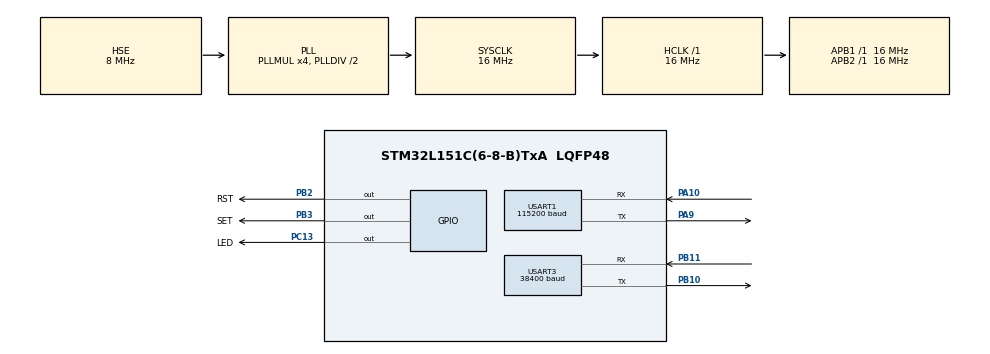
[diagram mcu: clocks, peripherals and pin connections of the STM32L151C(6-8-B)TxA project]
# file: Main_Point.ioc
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Dma.Request0=USART1_RX
Dma.Request1=USART1_TX
Dma.Request2=USART3_RX
Dma.Request3=USART3_TX
Dma.USART1_RX.0.Direction=DMA_PERIPH_TO_MEMORY
Dma.USART1_RX.0.Instance=DMA1_Channel5
Dma.USART1_RX.0.MemDataAlignment=DMA_MDATAALIGN_BYTE
Dma.USART1_RX.0.MemInc=DMA_MINC_ENABLE
Dma.USART1_RX.0.Mode=DMA_NORMAL
Dma.USART1_RX.0.PeriphDataAlignment=DMA_PDATAALIGN_BYTE
Dma.USART1_RX.0.PeriphInc=DMA_PINC_DISABLE
Dma.USART1_RX.0.Priority=DMA_PRIORITY_MEDIUM
Dma.USART1_TX.1.Direction=DMA_MEMORY_TO_PERIPH
Dma.USART1_TX.1.Instance=DMA1_Channel4
Dma.USART1_TX.1.MemDataAlignment=DMA_MDATAALIGN_BYTE
Dma.USART1_TX.1.MemInc=DMA_MINC_ENABLE
Dma.USART1_TX.1.Mode=DMA_NORMAL
Dma.USART1_TX.1.PeriphDataAlignment=DMA_PDATAALIGN_BYTE
Dma.USART1_TX.1.PeriphInc=DMA_PINC_DISABLE
Dma.USART1_TX.1.Priority=DMA_PRIORITY_MEDIUM
Dma.USART3_RX.2.Direction=DMA_PERIPH_TO_MEMORY
Dma.USART3_RX.2.Instance=DMA1_Channel3
Dma.USART3_RX.2.MemDataAlignment=DMA_MDATAALIGN_BYTE
Dma.USART3_RX.2.MemInc=DMA_MINC_ENABLE
Dma.USART3_RX.2.Mode=DMA_NORMAL
Dma.USART3_RX.2.PeriphDataAlignment=DMA_PDATAALIGN_BYTE
Dma.USART3_RX.2.PeriphInc=DMA_PINC_DISABLE
Dma.USART3_RX.2.Priority=DMA_PRIORITY_HIGH
Dma.USART3_TX.3.Direction=DMA_MEMORY_TO_PERIPH
Dma.USART3_TX.3.Instance=DMA1_Channel2
Dma.USART3_TX.3.MemDataAlignment=DMA_MDATAALIGN_BYTE
Dma.USART3_TX.3.MemInc=DMA_MINC_ENABLE
Dma.USART3_TX.3.Mode=DMA_NORMAL
Dma.USART3_TX.3.PeriphDataAlignment=DMA_PDATAALIGN_BYTE
Dma.USART3_TX.3.PeriphInc=DMA_PINC_DISABLE
Dma.USART3_TX.3.Priority=DMA_PRIORITY_HIGH
Mcu.Family=STM32L1
Mcu.Name=STM32L151C(6-8-B)TxA
Mcu.Package=LQFP48
NVIC.DMA1_Channel2_IRQn=true\:2\:0\:true\:false\:true\:false\:true\:true
NVIC.DMA1_Channel3_IRQn=true\:2\:0\:true\:false\:true\:false\:true\:true
NVIC.DMA1_Channel4_IRQn=true\:1\:0\:true\:false\:true\:false\:true\:true
NVIC.DMA1_Channel5_IRQn=true\:1\:0\:true\:false\:true\:false\:true\:true
NVIC.PriorityGroup=NVIC_PRIORITYGROUP_4
NVIC.USART1_IRQn=true\:1\:0\:true\:false\:true\:true\:true\:true
NVIC.USART3_IRQn=true\:2\:0\:true\:false\:true\:true\:true\:true
PA10.Mode=Asynchronous
PA10.Signal=USART1_RX
PA13.Mode=Serial_Wire
PA13.Signal=SYS_JTMS-SWDIO
PA14.Mode=Serial_Wire
PA14.Signal=SYS_JTCK-SWCLK
PA9.Mode=Asynchronous
PA9.Signal=USART1_TX
PB10.Mode=Asynchronous
PB10.Signal=USART3_TX
PB11.Mode=Asynchronous
PB11.Signal=USART3_RX
PB2.GPIO_Label=RST
PB2.PinState=GPIO_PIN_SET
PB2.Signal=GPIO_Output
PB3.GPIO_Label=SET
PB3.PinState=GPIO_PIN_SET
PB3.Signal=GPIO_Output
PC13-WKUP2.GPIO_Label=LED
PC13-WKUP2.GPIO_ModeDefaultOutputPP=GPIO_MODE_OUTPUT_OD
PC13-WKUP2.GPIO_PuPd=GPIO_NOPULL
PC13-WKUP2.PinState=GPIO_PIN_RESET
PC13-WKUP2.Signal=GPIO_Output
PH0-OSC_IN.Mode=HSE-External-Oscillator
PH0-OSC_IN.Signal=RCC_OSC_IN
PH1-OSC_OUT.Mode=HSE-External-Oscillator
PH1-OSC_OUT.Signal=RCC_OSC_OUT
ProjectManager.HeapSize=0x200
ProjectManager.StackSize=0x400
ProjectManager.TargetToolchain=MDK-ARM V5.32
RCC.48MHZClocksFreq_Value=16000000
RCC.AHBFreq_Value=16000000
RCC.APB1Freq_Value=16000000
RCC.APB1TimFreq_Value=16000000
RCC.APB2Freq_Value=16000000
RCC.APB2TimFreq_Value=16000000
RCC.HCLKFreq_Value=16000000
RCC.HSE_VALUE=8000000
RCC.HSI_VALUE=16000000
RCC.LSE_VALUE=32768
RCC.MSI_VALUE=2097000
RCC.PLLMUL=RCC_PLL_MUL4
RCC.PLLSourceVirtual=RCC_PLLSOURCE_HSE
RCC.SYSCLKFreq_VALUE=16000000
RCC.SYSCLKSource=RCC_SYSCLKSOURCE_PLLCLK
RCC.VCOOutputFreq_Value=32000000
USART1.BaudRate=115200
USART1.VirtualMode=VM_ASYNC
USART3.BaudRate=38400
USART3.VirtualMode=VM_ASYNC
board=custom

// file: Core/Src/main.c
/* USER CODE BEGIN Header */
/**
 ******************************************************************************
 * @file           : main.c
 * @brief          : Main program body
 ******************************************************************************
 * @attention
 *
 * Copyright (c) 2026 STMicroelectronics.
 * All rights reserved.
 *
 * This software is licensed under terms that can be found in the LICENSE file
 * in the root directory of this software component.
 * If no LICENSE file comes with this software, it is provided AS-IS.
 *
 ******************************************************************************
 */
/* USER CODE END Header */
#include "main.h"
#include "dma.h"
#include "usart.h"
#include "gpio.h"

/* USER CODE BEGIN Includes */
#include <string.h>
/* USER CODE END Includes */

/* USER CODE BEGIN PD */
#define RX_LEN 24
#define RX_COMMEND_LEN 4
#define TX_LEN 15
uint8_t RX_BUF[RX_LEN];
uint8_t PACK_BUF[RX_LEN];
uint8_t RX_COMEND[RX_COMMEND_LEN];
uint8_t TX_BUF[TX_LEN];
volatile uint8_t Flag_RX_uart1 = RESET;
volatile uint8_t Flag_RX_uart3 = RESET;
volatile uint8_t Flag_CMD_ILLEGAL = RESET;
/*---ZIGBEE CFG---*/
uint8_t Zigbee_CFGget[2] = {0x23, 0xA0}; // 查询CFG,返回0xA2+14byte
uint8_t Zigbee_CFGset[2] = {0x23, 0xFE}; // 设置CFG
uint8_t Zigbee_CFGrst[2] = {0x23, 0x23}; // 模块重启,退出CFG 必须高电平
uint8_t Zigbee_CFG[14] = {
    0x00,
    0x00, // 节点地址 中心节点固定0000,有效范围0001-FFFE
    0xA0, // 网络ID   00-FF
    0x02, // 网络类型 01-网状网,02-星型网,07-对等网
    0x01, // 节点类型 01-中心节点,03-中继路由,04-终端节点
    0x02, // 发送模式 01-广播,02-主从,03-点对点
    0x06, // 波特率   01-1200,02-2400,03-4800,04-9600,05-19200,06-38400,07-57600,08-115200
    0x01, // 奇偶校验 01-NONE，02-EVEN，03-ODD
    0x01, // 数据格式 01-8位
    0x02, // 地址编码 01-ACSII，02-HEX
    0xFF, // 串口超时 05-FF
    0x08, // 无线频点 00-0F
    0x00, // 发射功率 缺省
    0x01  // 源地址   01-不输出,02-ASCII 输出,03-HEX输出
};
/* USER CODE END PD */

void SystemClock_Config(void);
/* USER CODE BEGIN PFP */
void Zigbee_init(void)
{
    set_enter;
    HAL_Delay(3000);
    HAL_UART_Transmit(&huart3, Zigbee_CFGset, 2, 100);
    HAL_UART_Transmit(&huart3, Zigbee_CFG, 14, 500);
    set_exit;
    HAL_UART_Transmit(&huart3, Zigbee_CFGrst, 2, 100);
}
void TX_CMD_Load(uint8_t *padd_Buf, uint8_t status)
{
    TX_BUF[0] = padd_Buf[2] - '0';
    TX_BUF[1] = padd_Buf[3] - '0';
    if (status == SET)
    {
        TX_BUF[2] = 0x0B;
        TX_BUF[3] = 0xC0;
    }
    else
    {
        TX_BUF[2] = 0x0A;
        TX_BUF[3] = 0xC0;
    }
}
void Clear_Buf(uint8_t *padd_Buf, uint8_t len)
{
    for (uint8_t i = 0; i < len; i++)
    {
        padd_Buf[i] = 0;
    }
}
/* USER CODE END PFP */

int main(void)
{

    /* MCU Configuration--------------------------------------------------------*/

    /* Reset of all peripherals, Initializes the Flash interface and the Systick. */
    HAL_Init();

    /* Configure the system clock */
    SystemClock_Config();

    /* Initialize all configured peripherals */
    MX_GPIO_Init();
    MX_DMA_Init();
    MX_USART1_UART_Init();
    MX_USART3_UART_Init();
    /* USER CODE BEGIN 2 */
    HAL_UART_Transmit_DMA(&huart1, (uint8_t *)"Wait for Zigbee init...\r\n", 27);
    Zigbee_init();
    HAL_Delay(300); // 等待节点加入网路
    HAL_UART_Transmit_DMA(&huart1, (uint8_t *)"System is ready\r\n", 17);
    HAL_UART_Receive_DMA(&huart3, RX_BUF, RX_LEN);
    HAL_UART_Receive_DMA(&huart1, RX_COMEND, RX_COMMEND_LEN);
    //__HAL_DMA_DISABLE_IT(&hdma_usart3_rx, DMA_IT_HT);
    //__HAL_DMA_DISABLE_IT(&hdma_usart1_rx, DMA_IT_HT);
    /* USER CODE END 2 */

    /* Infinite loop */
    /* USER CODE BEGIN WHILE */
    while (1)
    {
        /*---ZIGBEE RECEIVING---*/
        if (Flag_RX_uart3 == SET)
        {
            memcpy(PACK_BUF,RX_BUF,RX_LEN);//暂存数据
            HAL_UART_Transmit_DMA(&huart1, PACK_BUF, RX_LEN);
            HAL_UART_Receive_DMA(&huart3, RX_BUF, RX_LEN); // 继续接收数据
            Flag_RX_uart3 = RESET;
        }
        /*---COMMAND PROCESSING---*/
        if (Flag_RX_uart1 == SET)
        {
            if (RX_COMEND[0] == '#')
            {
                led_on;
                switch (RX_COMEND[1])
                {
                case 'S':
                    TX_CMD_Load(RX_COMEND, SET);
                    break;
                case 'W':
                    TX_CMD_Load(RX_COMEND, RESET);
                    break;
                default:
                    HAL_UART_Transmit_DMA(&huart1, (uint8_t *)"Invalid Command\r\n", 17);
                    Flag_CMD_ILLEGAL = SET;
                    break;
                }
                if (Flag_CMD_ILLEGAL == RESET)
                {
                    HAL_UART_Transmit_DMA(&huart3, TX_BUF, 4);
                }
                else
                {
                    Flag_CMD_ILLEGAL = RESET;
                }
            }
            else
            {
                HAL_UART_Transmit_DMA(&huart1, (uint8_t *)"Invalid Command\r\n", 17);
            }
            Flag_RX_uart1 = RESET;
            Clear_Buf(TX_BUF, 4);
            HAL_UART_Receive_DMA(&huart1, RX_COMEND, RX_COMMEND_LEN); // 继续接收命令
        }

        /* USER CODE END WHILE */

    }
}

void SystemClock_Config(void)
{
    RCC_OscInitTypeDef RCC_OscInitStruct = {0};
    RCC_ClkInitTypeDef RCC_ClkInitStruct = {0};

    /** Configure the main internal regulator output voltage
     */
    __HAL_PWR_VOLTAGESCALING_CONFIG(PWR_REGULATOR_VOLTAGE_SCALE1);

    /** Initializes the RCC Oscillators according to the specified parameters
     * in the RCC_OscInitTypeDef structure.
     */
    RCC_OscInitStruct.OscillatorType = RCC_OSCILLATORTYPE_HSE;
    RCC_OscInitStruct.HSEState = RCC_HSE_ON;
    RCC_OscInitStruct.PLL.PLLState = RCC_PLL_ON;
    RCC_OscInitStruct.PLL.PLLSource = RCC_PLLSOURCE_HSE;
    RCC_OscInitStruct.PLL.PLLMUL = RCC_PLL_MUL4;
    RCC_OscInitStruct.PLL.PLLDIV = RCC_PLL_DIV2;
    if (HAL_RCC_OscConfig(&RCC_OscInitStruct) != HAL_OK)
    {
        Error_Handler();
    }

    /** Initializes the CPU, AHB and APB buses clocks
     */
    RCC_ClkInitStruct.ClockType = RCC_CLOCKTYPE_HCLK | RCC_CLOCKTYPE_SYSCLK | RCC_CLOCKTYPE_PCLK1 | RCC_CLOCKTYPE_PCLK2;
    RCC_ClkInitStruct.SYSCLKSource = RCC_SYSCLKSOURCE_PLLCLK;
    RCC_ClkInitStruct.AHBCLKDivider = RCC_SYSCLK_DIV1;
    RCC_ClkInitStruct.APB1CLKDivider = RCC_HCLK_DIV1;
    RCC_ClkInitStruct.APB2CLKDivider = RCC_HCLK_DIV1;

    if (HAL_RCC_ClockConfig(&RCC_ClkInitStruct, FLASH_LATENCY_0) != HAL_OK)
    {
        Error_Handler();
    }
}

/* USER CODE BEGIN 4 */
void HAL_UART_RxCpltCallback(UART_HandleTypeDef *huart)
{
    if (huart->Instance == USART1)
    {
        Flag_RX_uart1 = SET;
    }
    else if (huart->Instance == USART3)
    {
        Flag_RX_uart3 = SET;
    }
}
/* USER CODE END 4 */

void Error_Handler(void)
{
    __disable_irq();
    while (1)
    {
    }
}
